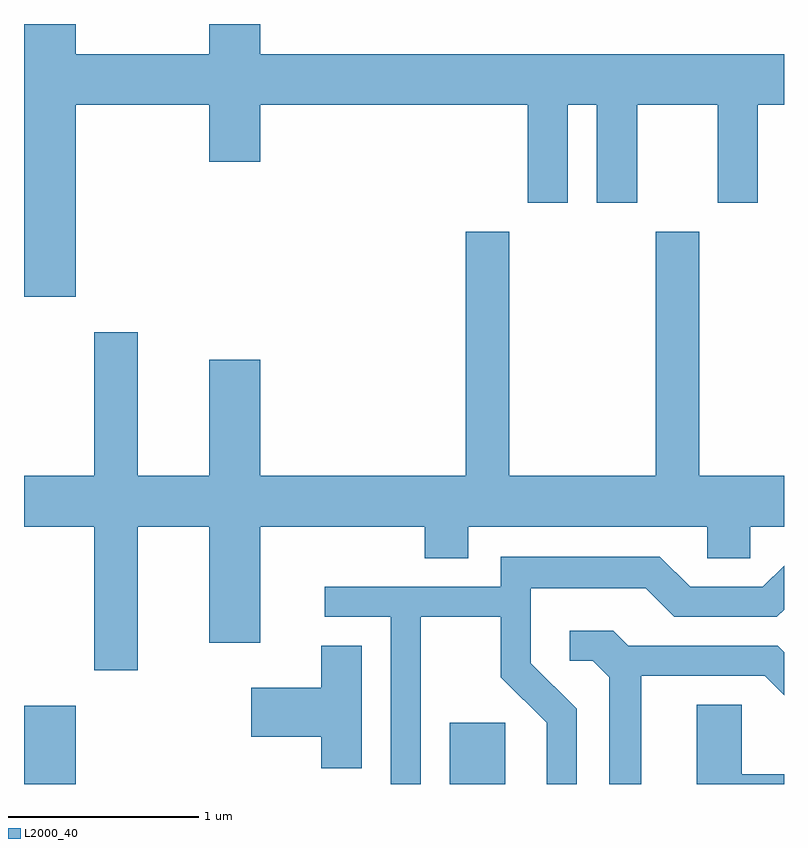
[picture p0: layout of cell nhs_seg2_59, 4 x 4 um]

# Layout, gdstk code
import gdstk
lib = gdstk.Library(unit=1e-6, precision=1e-09)
def R(c, l, rs):  # rectangles x0, y0, x1, y1
    for r in rs: c.add(gdstk.rectangle(r[:2], r[2:], *l))
def P(c, l, *ps):  # polygons
    for p in ps: c.add(gdstk.Polygon(p, *l))
L2000_40 = (2000, 40)

nhs_seg2_59 = lib.new_cell('nhs_seg2_59')
R(nhs_seg2_59, L2000_40, [(185.611,1095.802,185.884,1096.214), (187.851,1095.802,188.144,1096.124)])
P(nhs_seg2_59, L2000_40, [(185.884,1099.376),(186.586,1099.376),(186.586,1099.076),(186.854,1099.076),(186.854,1099.376),(188.261,1099.376),(188.261,1098.861),(188.474,1098.861),(188.474,1099.376),(188.626,1099.376),(188.626,1098.861),(188.839,1098.861),(188.839,1099.376),(189.261,1099.376),(189.261,1098.861),(189.474,1098.861),(189.474,1099.376),(189.611,1099.376),(189.611,1099.644),(186.854,1099.644),(186.854,1099.802),(186.586,1099.802),(186.586,1099.644),(185.884,1099.644),(185.884,1099.802),(185.611,1099.802),(185.611,1098.366),(185.884,1098.366)],
  [(186.209,1097.156),(186.586,1097.156),(186.586,1096.546),(186.854,1096.546),(186.854,1097.156),(187.721,1097.156),(187.721,1096.991),(187.949,1096.991),(187.949,1097.156),(189.206,1097.156),(189.206,1096.991),(189.434,1096.991),(189.434,1097.156),(189.611,1097.156),(189.611,1097.424),(189.164,1097.424),(189.164,1098.709),(188.936,1098.709),(188.936,1097.424),(188.164,1097.424),(188.164,1098.709),(187.936,1098.709),(187.936,1097.424),(186.854,1097.424),(186.854,1098.034),(186.586,1098.034),(186.586,1097.424),(186.209,1097.424),(186.209,1098.179),(185.981,1098.179),(185.981,1097.424),(185.611,1097.424),(185.611,1097.156),(185.981,1097.156),(185.981,1096.401),(186.209,1096.401)],
  [(187.699,1096.681),(188.121,1096.681),(188.121,1096.364),(188.361,1096.124),(188.361,1095.802),(188.519,1095.802),(188.519,1096.197),(188.279,1096.437),(188.279,1096.831),(188.884,1096.831),(189.034,1096.681),(189.572,1096.681),(189.611,1096.72),(189.611,1096.951),(189.499,1096.839),(189.117,1096.839),(188.957,1096.999),(188.121,1096.999),(188.121,1096.839),(187.193,1096.839),(187.193,1096.681),(187.541,1096.681),(187.541,1095.802),(187.699,1095.802)],
  [(188.859,1096.371),(189.509,1096.371),(189.611,1096.269),(189.611,1096.495),(189.577,1096.529),(188.792,1096.529),(188.712,1096.609),(188.483,1096.609),(188.483,1096.451),(188.604,1096.451),(188.691,1096.364),(188.691,1095.802),(188.859,1095.802)],
  [(187.389,1096.529),(187.176,1096.529),(187.176,1096.309),(186.806,1096.309),(186.806,1096.051),(187.176,1096.051),(187.176,1095.886),(187.389,1095.886)],
  [(189.611,1095.854),(189.389,1095.854),(189.389,1096.219),(189.151,1096.219),(189.151,1095.802),(189.611,1095.802)])

lib.write_gds('nhs_seg2_59.gds')
